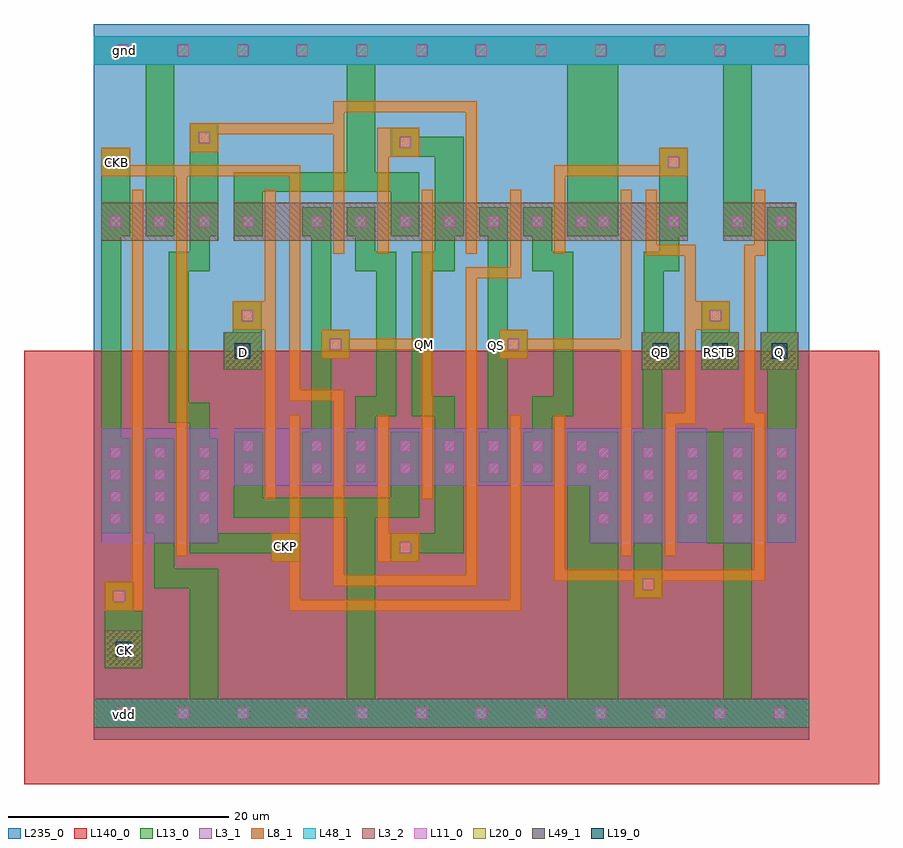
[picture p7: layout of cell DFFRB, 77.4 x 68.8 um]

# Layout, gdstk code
import gdstk
lib = gdstk.Library(unit=1e-6, precision=1e-09)
def R(c, l, rs):  # rectangles x0, y0, x1, y1
    for r in rs: c.add(gdstk.rectangle(r[:2], r[2:], *l))
def A(c, l, x, y, w, h, nx, ny, dx, dy):  # array of equal rectangles
    R(c, l, [(x+i*dx, y+j*dy, x+i*dx+w, y+j*dy+h) for i in range(nx) for j in range(ny)])
def P(c, l, *ps):  # polygons
    for p in ps: c.add(gdstk.Polygon(p, *l))
L3_1 = (3, 1)
L3_2 = (3, 2)
L8_1 = (8, 1)
L11_0 = (11, 0)
L13_0 = (13, 0)
L19_0 = (19, 0)
L20_0 = (20, 0)
L48_1 = (48, 1)
L49_1 = (49, 1)
L140_0 = (140, 0)
L235_0 = (235, 0)

dffrb = lib.new_cell('DFFRB')
R(dffrb, L3_1, [(0.7,-47,11.3,-36.6), (57,-47,63.6,-36.6), (12.7,-41.8,39,-36.6), (0,-3.7,39,-1.1), (39,-3.7,64.8,-1.1)])
P(dffrb, L3_1, [(44.9,-47),(44.9,-41.8),(39,-41.8),(39,-36.6),(55.5,-36.6),(55.5,-47)])
R(dffrb, L3_2, [(0,-63.7,39,-61.1), (39,-63.7,64.8,-61.1), (0.7,-19.6,11.3,-16.2), (12.7,-19.6,39,-16.2), (39,-19.6,53.8,-16.2), (57,-19.6,63.6,-16.2)])
R(dffrb, L8_1, [(1,-53.1,3.6,-50.5), (3.5,-53.1,4.5,-15), (16.1,-48.7,18.7,-46.1), (26.9,-48.7,29.5,-46.1), (20.6,-30.3,23.2,-27.7), (36.7,-30.3,39,-27.7), (0.7,-13.8,3.3,-11.2), (26.9,-12,29.5,-9.4), (8.7,-11.6,11.3,-9)])
P(dffrb, L8_1, [(47.7,-48.2),(47.7,-29.5),(39.3,-29.5),(39.3,-30.3),(39,-30.3),(39,-27.7),(39.3,-27.7),(39.3,-28.5),(47.7,-28.5),(47.7,-15),(48.7,-15),(48.7,-48.2)],
  [(17.7,-53.1),(17.7,-35.4),(18.7,-35.4),(18.7,-52.1),(37.7,-52.1),(37.7,-35.4),(38.7,-35.4),(38.7,-53.1)],
  [(41.7,-20.8),(41.7,-12.8),(51.2,-12.8),(51.2,-11.2),(53.8,-11.2),(53.8,-13.8),(42.7,-13.8),(42.7,-20.8)],
  [(51.7,-48.2),(51.7,-35.2),(53.5,-35.2),(53.5,-21),(50,-21),(50,-15),(51,-15),(51,-20),(54.5,-20),(54.5,-25.1),(57.6,-25.1),(57.6,-27.7),(54.5,-27.7),(54.5,-36.2),(52.7,-36.2),(52.7,-48.2)],
  [(48.9,-52),(48.9,-50.4),(41.7,-50.4),(41.7,-35.4),(42.7,-35.4),(42.7,-49.4),(59.8,-49.4),(59.8,-36.2),(58.9,-36.2),(58.9,-20),(59.8,-20),(59.8,-15),(60.8,-15),(60.8,-21),(59.9,-21),(59.9,-35.2),(60.8,-35.2),(60.8,-50.4),(51.5,-50.4),(51.5,-52)],
  [(21.7,-50.9),(21.7,-34.1),(17.7,-34.1),(17.7,-13.8),(8.5,-13.8),(8.5,-48.2),(7.5,-48.2),(7.5,-13.8),(3.3,-13.8),(3.3,-12.8),(18.7,-12.8),(18.7,-33.1),(22.7,-33.1),(22.7,-49.9),(33.7,-49.9),(33.7,-22),(37.7,-22),(37.7,-15),(38.7,-15),(38.7,-23),(34.7,-23),(34.7,-50.9)],
  [(25.7,-48.7),(25.7,-35.4),(26.7,-35.4),(26.7,-46.1),(26.9,-46.1),(26.9,-48.7)],
  [(29.7,-43),(29.7,-29.5),(23.2,-29.5),(23.2,-28.5),(29.7,-28.5),(29.7,-15),(30.7,-15),(30.7,-43)],
  [(15.5,-43),(15.5,-27.7),(12.6,-27.7),(12.6,-25.1),(15.5,-25.1),(15.5,-15),(16.5,-15),(16.5,-43)],
  [(21.7,-20.8),(21.7,-10),(11.3,-10),(11.3,-9),(21.7,-9),(21.7,-7),(34.7,-7),(34.7,-20.8),(33.7,-20.8),(33.7,-8),(22.7,-8),(22.7,-20.8)],
  [(25.7,-20.8),(25.7,-9.4),(26.9,-9.4),(26.9,-12),(26.7,-12),(26.7,-20.8)])
A(dffrb, L11_0, 2.2, -62.9, 1, 1, 12, 2, 5.4, 60)
A(dffrb, L11_0, 1.5, -45.3, 1, 1, 3, 4, 4, 2)
A(dffrb, L11_0, 45.7, -45.3, 1, 1, 1, 3, 0, 2)
A(dffrb, L11_0, 1.5, -18.4, 1, 1, 4, 1, 4, 0)
R(dffrb, L11_0, [(1.8,-52.3,2.8,-51.3), (49.7,-51.2,50.7,-50.2), (16.9,-47.9,17.9,-46.9), (27.7,-47.9,28.7,-46.9), (49.7,-45.3,50.7,-44.3), (49.7,-45.3,50.7,-44.3), (49.7,-45.3,50.7,-44.3), (53.7,-45.3,54.7,-44.3), (53.7,-45.3,54.7,-44.3), (53.7,-45.3,54.7,-44.3), (57.8,-45.3,58.8,-44.3), (57.8,-45.3,58.8,-44.3), (57.8,-45.3,58.8,-44.3), (57.8,-45.3,58.8,-44.3), (61.8,-45.3,62.8,-44.3), (61.8,-45.3,62.8,-44.3), (49.7,-43.3,50.7,-42.3), (49.7,-43.3,50.7,-42.3), (49.7,-43.3,50.7,-42.3), (53.7,-43.3,54.7,-42.3), (53.7,-43.3,54.7,-42.3), (53.7,-43.3,54.7,-42.3), (57.8,-43.3,58.8,-42.3), (57.8,-43.3,58.8,-42.3), (57.8,-43.3,58.8,-42.3), (57.8,-43.3,58.8,-42.3), (61.8,-43.3,62.8,-42.3), (61.8,-43.3,62.8,-42.3), (45.7,-41.3,46.7,-40.3), (45.7,-41.3,46.7,-40.3), (45.7,-41.3,46.7,-40.3), (45.7,-41.3,46.7,-40.3), (45.7,-41.3,46.7,-40.3), (49.7,-41.3,50.7,-40.3), (49.7,-41.3,50.7,-40.3), (49.7,-41.3,50.7,-40.3), (53.7,-41.3,54.7,-40.3), (53.7,-41.3,54.7,-40.3), (53.7,-41.3,54.7,-40.3), (57.8,-41.3,58.8,-40.3), (57.8,-41.3,58.8,-40.3), (61.8,-41.3,62.8,-40.3), (61.8,-41.3,62.8,-40.3), (13.5,-40.7,14.5,-39.7), (19.7,-40.7,20.7,-39.7), (19.7,-40.7,20.7,-39.7), (23.7,-40.7,24.7,-39.7), (23.7,-40.7,24.7,-39.7), (27.7,-40.7,28.7,-39.7), (27.7,-40.7,28.7,-39.7), (27.7,-40.7,28.7,-39.7), (27.7,-40.7,28.7,-39.7), (31.7,-40.7,32.7,-39.7), (31.7,-40.7,32.7,-39.7), (35.7,-40.7,36.7,-39.7), (35.7,-40.7,36.7,-39.7), (35.7,-40.7,36.7,-39.7), (35.7,-40.7,36.7,-39.7), (39.7,-40.7,40.7,-39.7), (39.7,-40.7,40.7,-39.7), (43.7,-40.7,44.7,-39.7), (45.7,-39.3,46.7,-38.3), (45.7,-39.3,46.7,-38.3), (45.7,-39.3,46.7,-38.3), (45.7,-39.3,46.7,-38.3), (45.7,-39.3,46.7,-38.3), (49.7,-39.3,50.7,-38.3), (49.7,-39.3,50.7,-38.3), (49.7,-39.3,50.7,-38.3), (53.7,-39.3,54.7,-38.3), (53.7,-39.3,54.7,-38.3), (53.7,-39.3,54.7,-38.3), (57.8,-39.3,58.8,-38.3), (57.8,-39.3,58.8,-38.3), (61.8,-39.3,62.8,-38.3), (61.8,-39.3,62.8,-38.3), (13.5,-38.7,14.5,-37.7), (19.7,-38.7,20.7,-37.7), (19.7,-38.7,20.7,-37.7), (23.7,-38.7,24.7,-37.7), (23.7,-38.7,24.7,-37.7), (27.7,-38.7,28.7,-37.7), (27.7,-38.7,28.7,-37.7), (27.7,-38.7,28.7,-37.7), (27.7,-38.7,28.7,-37.7), (31.7,-38.7,32.7,-37.7), (31.7,-38.7,32.7,-37.7), (35.7,-38.7,36.7,-37.7), (35.7,-38.7,36.7,-37.7), (35.7,-38.7,36.7,-37.7), (35.7,-38.7,36.7,-37.7), (39.7,-38.7,40.7,-37.7), (39.7,-38.7,40.7,-37.7), (43.7,-38.7,44.7,-37.7), (21.4,-29.5,22.4,-28.5), (37.5,-29.5,38.5,-28.5), (13.4,-26.9,14.4,-25.9), (55.8,-26.9,56.8,-25.9), (19.7,-18.4,20.7,-17.4), (19.7,-18.4,20.7,-17.4), (23.7,-18.4,24.7,-17.4), (23.7,-18.4,24.7,-17.4), (27.7,-18.4,28.7,-17.4), (27.7,-18.4,28.7,-17.4), (27.7,-18.4,28.7,-17.4), (27.7,-18.4,28.7,-17.4), (31.7,-18.4,32.7,-17.4), (31.7,-18.4,32.7,-17.4), (35.7,-18.4,36.7,-17.4), (35.7,-18.4,36.7,-17.4), (35.7,-18.4,36.7,-17.4), (35.7,-18.4,36.7,-17.4), (39.7,-18.4,40.7,-17.4), (39.7,-18.4,40.7,-17.4), (43.7,-18.4,44.7,-17.4), (45.7,-18.4,46.7,-17.4), (45.7,-18.4,46.7,-17.4), (45.7,-18.4,46.7,-17.4), (45.7,-18.4,46.7,-17.4), (45.7,-18.4,46.7,-17.4), (45.7,-18.4,46.7,-17.4), (52,-18.4,53,-17.4), (57.8,-18.4,58.8,-17.4), (57.8,-18.4,58.8,-17.4), (61.8,-18.4,62.8,-17.4), (1.5,-13,2.5,-12), (52,-13,53,-12), (27.7,-11.2,28.7,-10.2), (9.5,-10.8,10.5,-9.8)])
R(dffrb, L13_0, [(0,-63.7,39,-61.1), (39,-63.7,64.8,-61.1), (8.7,-61.1,11.3,-51.1), (42.9,-61.1,47.5,-36.9), (57,-61.1,59.6,-36.9), (1,-58.3,4.4,-54.9), (1,-58.3,4.4,-53.1), (1,-53.1,3.6,-50.5), (5.5,-51.1,7.3,-46.1), (7.3,-51.1,11.3,-49.3), (16.1,-48.7,18.7,-46.1), (26.9,-48.7,29.5,-46.1), (11.3,-47.9,16.1,-46.1), (52.9,-47,57,-36.9), (0.7,-46.1,3.3,-37.5), (4.7,-46.1,7.3,-37.5), (38.9,-41.5,39,-36.9), (11.8,-31.3,15.2,-27.9), (20.6,-30.3,23.2,-27.7), (36.7,-30.3,39,-27.7), (39,-30.3,39.3,-27.7), (12.6,-27.9,15.2,-25.1), (4.7,-19.2,7.3,-3.7), (38.9,-19.2,39,-16.6), (42.9,-19.2,47.5,-3.7), (57,-19.2,59.6,-3.7), (0.7,-13.8,3.3,-11.2), (26.9,-12,29.5,-9.4), (8.7,-11.6,11.3,-9), (0,-3.7,39,-1.1), (39,-3.7,64.8,-1.1)])
P(dffrb, L13_0, [(39,-41.5),(39,-36.9),(39.7,-36.9),(39.7,-33.7),(41.6,-33.7),(41.6,-22.4),(39.7,-22.4),(39.7,-19.2),(39,-19.2),(39,-16.6),(41.5,-16.6),(41.5,-20.6),(43.4,-20.6),(43.4,-35.5),(41.5,-35.5),(41.5,-41.5)],
  [(8.7,-47.9),(8.7,-36.1),(6.8,-36.1),(6.8,-20.6),(8.7,-20.6),(8.7,-9),(11.3,-9),(11.3,-19.2),(10.5,-19.2),(10.5,-22.4),(8.6,-22.4),(8.6,-34.3),(10.5,-34.3),(10.5,-37.5),(11.3,-37.5),(11.3,-47.9)],
  [(34.9,-41.5),(34.9,-36.9),(35.7,-36.9),(35.7,-19.2),(34.9,-19.2),(34.9,-16.6),(37.5,-16.6),(37.5,-41.5)],
  [(48.9,-52),(48.9,-36.9),(49.7,-36.9),(49.7,-31.3),(49.6,-31.3),(49.6,-27.9),(49.8,-27.9),(49.8,-20.6),(51.2,-20.6),(51.2,-11.2),(53.8,-11.2),(53.8,-19.2),(53,-19.2),(53,-22.4),(51.6,-22.4),(51.6,-27.9),(53,-27.9),(53,-31.3),(51.5,-31.3),(51.5,-52)],
  [(12.7,-19.2),(12.7,-13.4),(22.9,-13.4),(22.9,-3.7),(25.5,-3.7),(25.5,-13.4),(29.5,-13.4),(29.5,-19.2),(26.9,-19.2),(26.9,-15.2),(15.3,-15.2),(15.3,-19.2)],
  [(22.9,-61.1),(22.9,-44.7),(12.7,-44.7),(12.7,-36.9),(15.3,-36.9),(15.3,-42.9),(26.9,-42.9),(26.9,-36.9),(29.5,-36.9),(29.5,-44.7),(25.5,-44.7),(25.5,-61.1)],
  [(29.5,-47.9),(29.5,-46.1),(30.9,-46.1),(30.9,-35.5),(28.8,-35.5),(28.8,-20.6),(30.9,-20.6),(30.9,-12),(29.5,-12),(29.5,-10.2),(33.5,-10.2),(33.5,-19.2),(32.7,-19.2),(32.7,-22.4),(30.6,-22.4),(30.6,-33.7),(32.7,-33.7),(32.7,-36.9),(33.5,-36.9),(33.5,-47.9)],
  [(22.9,-41.5),(22.9,-36.9),(23.7,-36.9),(23.7,-33.7),(25.6,-33.7),(25.6,-22.4),(23.7,-22.4),(23.7,-19.2),(22.9,-19.2),(22.9,-16.6),(25.5,-16.6),(25.5,-20.6),(27.4,-20.6),(27.4,-35.5),(25.5,-35.5),(25.5,-41.5)],
  [(18.9,-41.5),(18.9,-36.9),(19.7,-36.9),(19.7,-19.2),(18.9,-19.2),(18.9,-16.6),(21.5,-16.6),(21.5,-41.5)],
  [(0.7,-37.5),(0.7,-13.8),(3.3,-13.8),(3.3,-19.2),(2.5,-19.2),(2.5,-37.5)],
  [(55,-31.3),(55,-25.1),(57.6,-25.1),(57.6,-27.9),(58.4,-27.9),(58.4,-31.3)],
  [(61,-47),(61,-31.3),(60.4,-31.3),(60.4,-27.9),(61,-27.9),(61,-16.6),(63.6,-16.6),(63.6,-27.9),(63.8,-27.9),(63.8,-31.3),(63.6,-31.3),(63.6,-47)])
A(dffrb, L19_0, 50.6, -30.3, 1.4, 1.4, 3, 1, 5.4, 0)
R(dffrb, L19_0, [(2,-57.3,3.4,-55.9), (12.8,-30.3,14.2,-28.9), (50.6,-30.3,52,-28.9)])
A(dffrb, L20_0, 49.6, -31.3, 3.4, 3.4, 3, 1, 5.4, 0)
R(dffrb, L20_0, [(1,-58.3,4.4,-54.9), (11.8,-31.3,15.2,-27.9), (49.6,-31.3,53,-27.9)])
R(dffrb, L48_1, [(0,-63.7,39,-61.1), (0,-63.7,64.8,-61.1), (0,-3.7,39,-1.1), (0,-3.7,64.8,-1.1)])
A(dffrb, L49_1, 49.6, -31.3, 3.4, 3.4, 3, 1, 5.4, 0)
R(dffrb, L49_1, [(1,-58.3,4.4,-54.9), (11.8,-31.3,15.2,-27.9), (49.6,-31.3,53,-27.9)])
R(dffrb, L140_0, [(-6.3,-68.8,71.1,-29.6)])
R(dffrb, L235_0, [(0,-64.8,64.8,0)])
dffrb.add(gdstk.Label('vdd', (2.8,-62.5), layer=48, texttype=0))
dffrb.add(gdstk.Label('gnd', (2.8,-2.4), layer=48, texttype=0))
dffrb.add(gdstk.Label('QS', (36.5,-29.1), layer=48, texttype=0))
dffrb.add(gdstk.Label('QM', (30,-29), layer=48, texttype=0))
dffrb.add(gdstk.Label('CKB', (2.1,-12.5), layer=48, texttype=0))
dffrb.add(gdstk.Label('CKP', (17.4,-47.3), layer=48, texttype=0))
dffrb.add(gdstk.Label('gnd', (2.7,-2.4), layer=48, texttype=0))
dffrb.add(gdstk.Label('vdd', (2.7,-62.5), layer=48, texttype=0))
dffrb.add(gdstk.Label('RSTB', (56.7,-29.7), layer=49, texttype=0))
dffrb.add(gdstk.Label('D', (13.6,-29.7), layer=49, texttype=0))
dffrb.add(gdstk.Label('CK', (2.8,-56.7), layer=49, texttype=0))
dffrb.add(gdstk.Label('QB', (51.3,-29.7), layer=49, texttype=0))
dffrb.add(gdstk.Label('QB', (51.3,-29.7), layer=49, texttype=0))
dffrb.add(gdstk.Label('Q', (62.1,-29.7), layer=49, texttype=0))

lib.write_gds('DFFRB.gds')
